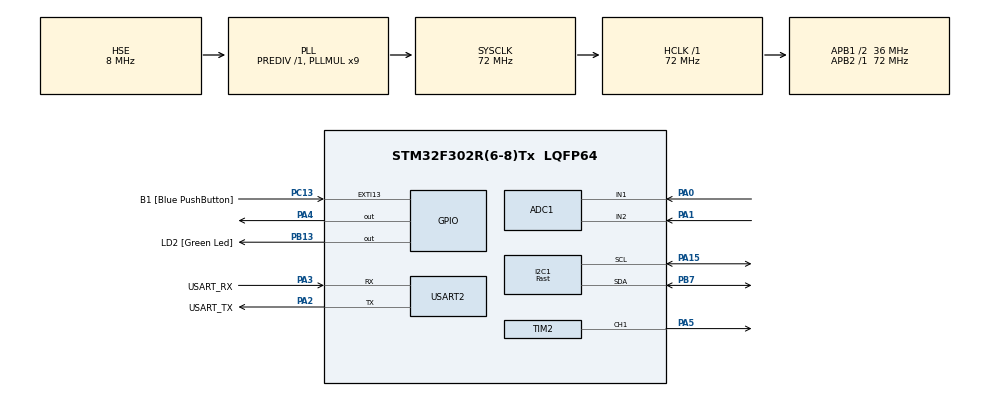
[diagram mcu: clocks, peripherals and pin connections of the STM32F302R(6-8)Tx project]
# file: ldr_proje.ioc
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ADC1.Channel-0\#ChannelRegularConversion=ADC_CHANNEL_1
ADC1.NbrOfConversionFlag=1
ADC1.Offset-0\#ChannelRegularConversion=0
ADC1.OffsetNumber-0\#ChannelRegularConversion=ADC_OFFSET_NONE
ADC1.Rank-0\#ChannelRegularConversion=1
ADC1.SamplingTime-0\#ChannelRegularConversion=ADC_SAMPLETIME_1CYCLE_5
ADC1.SingleDiff-0\#ChannelRegularConversion=ADC_DIFFERENTIAL_ENDED
ADC1.master=1
I2C1.I2C_Speed_Mode=I2C_Fast
I2C1.Timing=0x0000020B
Mcu.Family=STM32F3
Mcu.Name=STM32F302R(6-8)Tx
Mcu.Package=LQFP64
NVIC.PriorityGroup=NVIC_PRIORITYGROUP_0
PA0.Mode=IN1-Differential
PA0.Signal=ADC1_IN1
PA1.Mode=IN1-Differential
PA1.Signal=ADC1_IN2
PA13.GPIO_Label=TMS
PA13.Mode=Serial_Wire
PA13.Signal=SYS_JTMS-SWDIO
PA14.GPIO_Label=TCK
PA14.Mode=Serial_Wire
PA14.Signal=SYS_JTCK-SWCLK
PA15.Mode=I2C
PA15.Signal=I2C1_SCL
PA2.GPIO_Label=USART_TX
PA2.GPIO_Mode=GPIO_MODE_AF_PP
PA2.GPIO_PuPd=GPIO_NOPULL
PA2.GPIO_Speed=GPIO_SPEED_FREQ_LOW
PA2.Mode=Asynchronous
PA2.Signal=USART2_TX
PA3.GPIO_Label=USART_RX
PA3.GPIO_Mode=GPIO_MODE_AF_PP
PA3.GPIO_PuPd=GPIO_NOPULL
PA3.GPIO_Speed=GPIO_SPEED_FREQ_LOW
PA3.Mode=Asynchronous
PA3.Signal=USART2_RX
PA4.Signal=GPIO_Output
PA5.Signal=S_TIM2_CH1_ETR
PB13.GPIO_Label=LD2 [Green Led]
PB13.Signal=GPIO_Output
PB3.GPIO_Label=SWO
PB3.Mode=Trace_Asynchronous_SW
PB3.Signal=SYS_JTDO-TRACESWO
PB7.Mode=I2C
PB7.Signal=I2C1_SDA
PC13.GPIO_Label=B1 [Blue PushButton]
PC13.GPIO_ModeDefaultEXTI=GPIO_MODE_IT_FALLING
PC13.Signal=GPXTI13
PC14\ -\ OSC32_IN.Mode=LSE-External-Oscillator
PC14\ -\ OSC32_IN.Signal=RCC_OSC32_IN
PC15\ -\ OSC32_OUT.Mode=LSE-External-Oscillator
PC15\ -\ OSC32_OUT.Signal=RCC_OSC32_OUT
PF0-OSC_IN.Mode=HSE-External-Oscillator
PF0-OSC_IN.Signal=RCC_OSC_IN
PF1-OSC_OUT.Mode=HSE-External-Oscillator
PF1-OSC_OUT.Signal=RCC_OSC_OUT
ProjectManager.HeapSize=0x200
ProjectManager.StackSize=0x400
ProjectManager.TargetToolchain=STM32CubeIDE
RCC.AHBFreq_Value=72000000
RCC.APB1CLKDivider=RCC_HCLK_DIV2
RCC.APB1Freq_Value=36000000
RCC.APB1TimFreq_Value=72000000
RCC.APB2Freq_Value=72000000
RCC.APB2TimFreq_Value=72000000
RCC.CortexFreq_Value=72000000
RCC.HCLKFreq_Value=72000000
RCC.HSE_VALUE=8000000
RCC.HSI_VALUE=8000000
RCC.PLLM=8
RCC.PLLMUL=RCC_PLL_MUL9
RCC.PLLN=336
RCC.PLLP=RCC_PLLP_DIV4
RCC.PLLQ=7
RCC.PLLSourceVirtual=RCC_PLLSOURCE_HSE
RCC.SYSCLKFreq_VALUE=72000000
RCC.SYSCLKSourceVirtual=RCC_SYSCLKSOURCE_PLLCLK
RCC.USBFreq_Value=72000000
SH.S_TIM2_CH1_ETR.0=TIM2_CH1,PWM Generation1 CH1
TIM2.Channel-PWM\ Generation1\ CH1=TIM_CHANNEL_1
TIM2.Period=20
TIM2.Prescaler=127
USART2.VirtualMode-Asynchronous=VM_ASYNC
VP_TIM2_VS_ClockSourceINT.Mode=Internal
board=NUCLEO-F302R8

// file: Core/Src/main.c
/* USER CODE BEGIN Header */
/**
  ******************************************************************************
  * @file           : main.c
  * @brief          : Main program body
  ******************************************************************************
  * @attention
  *
  * Copyright (c) 2023 STMicroelectronics.
  * All rights reserved.
  *
  * This software is licensed under terms that can be found in the LICENSE file
  * in the root directory of this software component.
  * If no LICENSE file comes with this software, it is provided AS-IS.
  *
  ******************************************************************************
  */
/* USER CODE END Header */
#include "main.h"

ADC_HandleTypeDef hadc1;

I2C_HandleTypeDef hi2c1;

TIM_HandleTypeDef htim2;

UART_HandleTypeDef huart2;

void SystemClock_Config(void);
static void MX_GPIO_Init(void);
static void MX_USART2_UART_Init(void);
static void MX_ADC1_Init(void);
static void MX_I2C1_Init(void);
static void MX_TIM2_Init(void);

/* USER CODE BEGIN 0 */

uint16_t adc_deger;//adc degerini tutacagımız degişken
void adc_read()//ldr icin adc okuma
{
	HAL_ADC_Start(&hadc1);//adc yi baslatma
	HAL_ADC_PollForConversion(&hadc1, 1);
	adc_deger= HAL_ADC_GetValue(&hadc1);//adc degerini alma
	HAL_ADC_Stop(&hadc1);//adc stop

}
/* USER CODE END 0 */

int main(void)
{
  /* USER CODE BEGIN 1 */
int x;
  /* USER CODE END 1 */

  /* MCU Configuration--------------------------------------------------------*/

  /* Reset of all peripherals, Initializes the Flash interface and the Systick. */
  HAL_Init();

  /* Configure the system clock */
  SystemClock_Config();

  /* Initialize all configured peripherals */
  MX_GPIO_Init();
  MX_USART2_UART_Init();
  MX_ADC1_Init();
  MX_I2C1_Init();
  MX_TIM2_Init();
  /* USER CODE BEGIN 2 */
HAL_TIM_PWM_Start(&htim2, TIM_CHANNEL_1);//pwm baslatma
  /* USER CODE END 2 */

  /* Infinite loop */
  while (1)
  {

    /* USER CODE BEGIN 3 */
	  x = 60;//buzzer icin pwm sinyal frekansı
	  adc_read();//ldr deger okuma
	  HAL_Delay(10);
	  if(adc_deger<2300)
	  {
		  HAL_GPIO_WritePin(GPIOA, GPIO_PIN_4, GPIO_PIN_SET);//GPIOA PIN4 led pini
		  __HAL_TIM_SET_AUTORELOAD(&htim2, x * 2);      //buzzer icin set komutu
		  __HAL_TIM_SET_COMPARE(&htim2, TIM_CHANNEL_1, x);
		  HAL_Delay(120);
			__HAL_TIM_SET_AUTORELOAD(&htim2, 0);//buzzer reset komutu
			__HAL_TIM_SET_COMPARE(&htim2, TIM_CHANNEL_1, 0);
		  HAL_GPIO_WritePin(GPIOA, GPIO_PIN_4, GPIO_PIN_RESET);
		  HAL_Delay(120);

	  }

  }
  /* USER CODE END 3 */
}

void SystemClock_Config(void)
{
  RCC_OscInitTypeDef RCC_OscInitStruct = {0};
  RCC_ClkInitTypeDef RCC_ClkInitStruct = {0};
  RCC_PeriphCLKInitTypeDef PeriphClkInit = {0};

  /** Initializes the RCC Oscillators according to the specified parameters
  * in the RCC_OscInitTypeDef structure.
  */
  RCC_OscInitStruct.OscillatorType = RCC_OSCILLATORTYPE_HSI|RCC_OSCILLATORTYPE_HSE;
  RCC_OscInitStruct.HSEState = RCC_HSE_ON;
  RCC_OscInitStruct.HSEPredivValue = RCC_HSE_PREDIV_DIV1;
  RCC_OscInitStruct.HSIState = RCC_HSI_ON;
  RCC_OscInitStruct.HSICalibrationValue = RCC_HSICALIBRATION_DEFAULT;
  RCC_OscInitStruct.PLL.PLLState = RCC_PLL_ON;
  RCC_OscInitStruct.PLL.PLLSource = RCC_PLLSOURCE_HSE;
  RCC_OscInitStruct.PLL.PLLMUL = RCC_PLL_MUL9;
  if (HAL_RCC_OscConfig(&RCC_OscInitStruct) != HAL_OK)
  {
    Error_Handler();
  }

  /** Initializes the CPU, AHB and APB buses clocks
  */
  RCC_ClkInitStruct.ClockType = RCC_CLOCKTYPE_HCLK|RCC_CLOCKTYPE_SYSCLK
                              |RCC_CLOCKTYPE_PCLK1|RCC_CLOCKTYPE_PCLK2;
  RCC_ClkInitStruct.SYSCLKSource = RCC_SYSCLKSOURCE_PLLCLK;
  RCC_ClkInitStruct.AHBCLKDivider = RCC_SYSCLK_DIV1;
  RCC_ClkInitStruct.APB1CLKDivider = RCC_HCLK_DIV2;
  RCC_ClkInitStruct.APB2CLKDivider = RCC_HCLK_DIV1;

  if (HAL_RCC_ClockConfig(&RCC_ClkInitStruct, FLASH_LATENCY_2) != HAL_OK)
  {
    Error_Handler();
  }
  PeriphClkInit.PeriphClockSelection = RCC_PERIPHCLK_I2C1|RCC_PERIPHCLK_ADC1;
  PeriphClkInit.I2c1ClockSelection = RCC_I2C1CLKSOURCE_HSI;
  PeriphClkInit.Adc1ClockSelection = RCC_ADC1PLLCLK_DIV1;

  if (HAL_RCCEx_PeriphCLKConfig(&PeriphClkInit) != HAL_OK)
  {
    Error_Handler();
  }
}

static void MX_ADC1_Init(void)
{

  ADC_ChannelConfTypeDef sConfig = {0};

  /** Common config
  */
  hadc1.Instance = ADC1;
  hadc1.Init.ClockPrescaler = ADC_CLOCK_ASYNC_DIV1;
  hadc1.Init.Resolution = ADC_RESOLUTION_12B;
  hadc1.Init.ScanConvMode = ADC_SCAN_DISABLE;
  hadc1.Init.ContinuousConvMode = DISABLE;
  hadc1.Init.DiscontinuousConvMode = DISABLE;
  hadc1.Init.ExternalTrigConvEdge = ADC_EXTERNALTRIGCONVEDGE_NONE;
  hadc1.Init.ExternalTrigConv = ADC_SOFTWARE_START;
  hadc1.Init.DataAlign = ADC_DATAALIGN_RIGHT;
  hadc1.Init.NbrOfConversion = 1;
  hadc1.Init.DMAContinuousRequests = DISABLE;
  hadc1.Init.EOCSelection = ADC_EOC_SINGLE_CONV;
  hadc1.Init.LowPowerAutoWait = DISABLE;
  hadc1.Init.Overrun = ADC_OVR_DATA_OVERWRITTEN;
  if (HAL_ADC_Init(&hadc1) != HAL_OK)
  {
    Error_Handler();
  }

  /** Configure Regular Channel
  */
  sConfig.Channel = ADC_CHANNEL_1;
  sConfig.Rank = ADC_REGULAR_RANK_1;
  sConfig.SingleDiff = ADC_DIFFERENTIAL_ENDED;
  sConfig.SamplingTime = ADC_SAMPLETIME_1CYCLE_5;
  sConfig.OffsetNumber = ADC_OFFSET_NONE;
  sConfig.Offset = 0;
  if (HAL_ADC_ConfigChannel(&hadc1, &sConfig) != HAL_OK)
  {
    Error_Handler();
  }

}

static void MX_I2C1_Init(void)
{

  hi2c1.Instance = I2C1;
  hi2c1.Init.Timing = 0x0000020B;
  hi2c1.Init.OwnAddress1 = 0;
  hi2c1.Init.AddressingMode = I2C_ADDRESSINGMODE_7BIT;
  hi2c1.Init.DualAddressMode = I2C_DUALADDRESS_DISABLE;
  hi2c1.Init.OwnAddress2 = 0;
  hi2c1.Init.OwnAddress2Masks = I2C_OA2_NOMASK;
  hi2c1.Init.GeneralCallMode = I2C_GENERALCALL_DISABLE;
  hi2c1.Init.NoStretchMode = I2C_NOSTRETCH_DISABLE;
  if (HAL_I2C_Init(&hi2c1) != HAL_OK)
  {
    Error_Handler();
  }

  /** Configure Analogue filter
  */
  if (HAL_I2CEx_ConfigAnalogFilter(&hi2c1, I2C_ANALOGFILTER_ENABLE) != HAL_OK)
  {
    Error_Handler();
  }

  /** Configure Digital filter
  */
  if (HAL_I2CEx_ConfigDigitalFilter(&hi2c1, 0) != HAL_OK)
  {
    Error_Handler();
  }

}

static void MX_TIM2_Init(void)
{

  TIM_ClockConfigTypeDef sClockSourceConfig = {0};
  TIM_MasterConfigTypeDef sMasterConfig = {0};
  TIM_OC_InitTypeDef sConfigOC = {0};

  htim2.Instance = TIM2;
  htim2.Init.Prescaler = 127;
  htim2.Init.CounterMode = TIM_COUNTERMODE_UP;
  htim2.Init.Period = 20;
  htim2.Init.ClockDivision = TIM_CLOCKDIVISION_DIV1;
  htim2.Init.AutoReloadPreload = TIM_AUTORELOAD_PRELOAD_DISABLE;
  if (HAL_TIM_Base_Init(&htim2) != HAL_OK)
  {
    Error_Handler();
  }
  sClockSourceConfig.ClockSource = TIM_CLOCKSOURCE_INTERNAL;
  if (HAL_TIM_ConfigClockSource(&htim2, &sClockSourceConfig) != HAL_OK)
  {
    Error_Handler();
  }
  if (HAL_TIM_PWM_Init(&htim2) != HAL_OK)
  {
    Error_Handler();
  }
  sMasterConfig.MasterOutputTrigger = TIM_TRGO_RESET;
  sMasterConfig.MasterSlaveMode = TIM_MASTERSLAVEMODE_DISABLE;
  if (HAL_TIMEx_MasterConfigSynchronization(&htim2, &sMasterConfig) != HAL_OK)
  {
    Error_Handler();
  }
  sConfigOC.OCMode = TIM_OCMODE_PWM1;
  sConfigOC.Pulse = 0;
  sConfigOC.OCPolarity = TIM_OCPOLARITY_HIGH;
  sConfigOC.OCFastMode = TIM_OCFAST_DISABLE;
  if (HAL_TIM_PWM_ConfigChannel(&htim2, &sConfigOC, TIM_CHANNEL_1) != HAL_OK)
  {
    Error_Handler();
  }
  HAL_TIM_MspPostInit(&htim2);

}

static void MX_USART2_UART_Init(void)
{

  huart2.Instance = USART2;
  huart2.Init.BaudRate = 38400;
  huart2.Init.WordLength = UART_WORDLENGTH_8B;
  huart2.Init.StopBits = UART_STOPBITS_1;
  huart2.Init.Parity = UART_PARITY_NONE;
  huart2.Init.Mode = UART_MODE_TX_RX;
  huart2.Init.HwFlowCtl = UART_HWCONTROL_NONE;
  huart2.Init.OverSampling = UART_OVERSAMPLING_16;
  huart2.Init.OneBitSampling = UART_ONE_BIT_SAMPLE_DISABLE;
  huart2.AdvancedInit.AdvFeatureInit = UART_ADVFEATURE_NO_INIT;
  if (HAL_UART_Init(&huart2) != HAL_OK)
  {
    Error_Handler();
  }

}

static void MX_GPIO_Init(void)
{
  GPIO_InitTypeDef GPIO_InitStruct = {0};

  /* GPIO Ports Clock Enable */
  __HAL_RCC_GPIOC_CLK_ENABLE();
  __HAL_RCC_GPIOF_CLK_ENABLE();
  __HAL_RCC_GPIOA_CLK_ENABLE();
  __HAL_RCC_GPIOB_CLK_ENABLE();

  /*Configure GPIO pin Output Level */
  HAL_GPIO_WritePin(GPIOA, GPIO_PIN_4, GPIO_PIN_RESET);

  /*Configure GPIO pin Output Level */
  HAL_GPIO_WritePin(LD2_GPIO_Port, LD2_Pin, GPIO_PIN_RESET);

  /*Configure GPIO pin : B1_Pin */
  GPIO_InitStruct.Pin = B1_Pin;
  GPIO_InitStruct.Mode = GPIO_MODE_IT_FALLING;
  GPIO_InitStruct.Pull = GPIO_NOPULL;
  HAL_GPIO_Init(B1_GPIO_Port, &GPIO_InitStruct);

  /*Configure GPIO pin : PA4 */
  GPIO_InitStruct.Pin = GPIO_PIN_4;
  GPIO_InitStruct.Mode = GPIO_MODE_OUTPUT_PP;
  GPIO_InitStruct.Pull = GPIO_NOPULL;
  GPIO_InitStruct.Speed = GPIO_SPEED_FREQ_LOW;
  HAL_GPIO_Init(GPIOA, &GPIO_InitStruct);

  /*Configure GPIO pin : LD2_Pin */
  GPIO_InitStruct.Pin = LD2_Pin;
  GPIO_InitStruct.Mode = GPIO_MODE_OUTPUT_PP;
  GPIO_InitStruct.Pull = GPIO_NOPULL;
  GPIO_InitStruct.Speed = GPIO_SPEED_FREQ_LOW;
  HAL_GPIO_Init(LD2_GPIO_Port, &GPIO_InitStruct);

}

void Error_Handler(void)
{
  __disable_irq();
  while (1)
  {
  }
}
